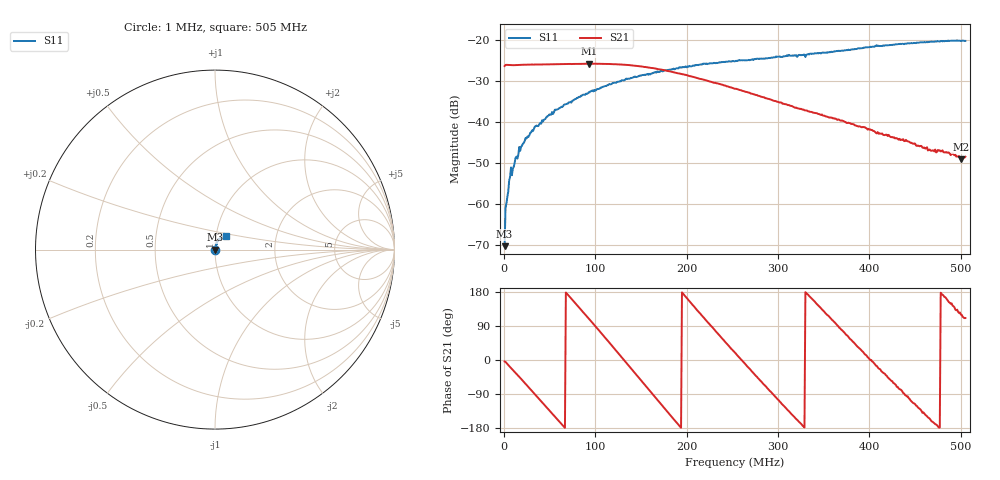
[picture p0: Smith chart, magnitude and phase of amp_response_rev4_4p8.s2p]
# HZ S RI R 50
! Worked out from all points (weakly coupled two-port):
!   505 points, 1 MHz to 505 MHz, reference 50 ohm
!   highest |S21| = -25.78 dB at 93 MHz (marker M1); lowest = -49.1 dB at 500 MHz (marker M2)
!   lowest |S11| = -70.4 dB at 1 MHz (marker M3), VSWR 1.00, Z = 50 - j0.000119 ohm
!   |S11| at or under -10 dB: start of sweep to end of sweep
!   S12 and S22 are empty: the file has one direction only
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1000000  -0.000304 -1.2e-06  0.048 -0.00333  0 0  0 0
4000000  0.000264 0.00119  0.0488 -0.00917  0 0  0 0
6000000  -0.000235 0.00191  0.0476 -0.0136  0 0  0 0
8000000  0.0004 0.00275  0.0461 -0.0177  0 0  0 0
1.2e7  0.000517 0.00314  0.0422 -0.0257  0 0  0 0
1.9e7  0.00102 0.00483  0.0321 -0.0379  0 0  0 0
3.3e7  0.00137 0.00805  0.00237 -0.0501  0 0  0 0
4.8e7  0.00299 0.0113  -0.0308 -0.0399  0 0  0 0
8.5e7  0.00614 0.0201  -0.0338 0.0383  0 0  0 0
9.3e7  0.00698 0.0219  -0.017 0.0485  0 0  0 0
1.31e8  0.00852 0.0309  0.0499 0.00141  0 0  0 0
1.69e8  0.0105 0.0394  -0.0135 -0.0419  0 0  0 0
1.91e8  0.0118 0.0434  -0.0386 -0.00653  0 0  0 0
2.16e8  0.0145 0.0481  -0.0164 0.0291  0 0  0 0
2.53e8  0.0158 0.0527  0.0239 0.00844  0 0  0 0
2.9e8  0.0205 0.0567  0.00372 -0.0187  0 0  0 0
3.37e8  0.0298 0.0606  -0.0126 0.0041  0 0  0 0
4.21e8  0.05 0.0702  0.00466 -0.00515  0 0  0 0
4.66e8  0.0588 0.0746  -0.00416 -0.00194  0 0  0 0
4.78e8  0.0601 0.0759  -0.00436 0.00019  0 0  0 0
5e8  0.0606 0.0762  -0.00174 0.00304  0 0  0 0
5.05e8  0.0618 0.0754  -0.00133 0.00351  0 0  0 0
